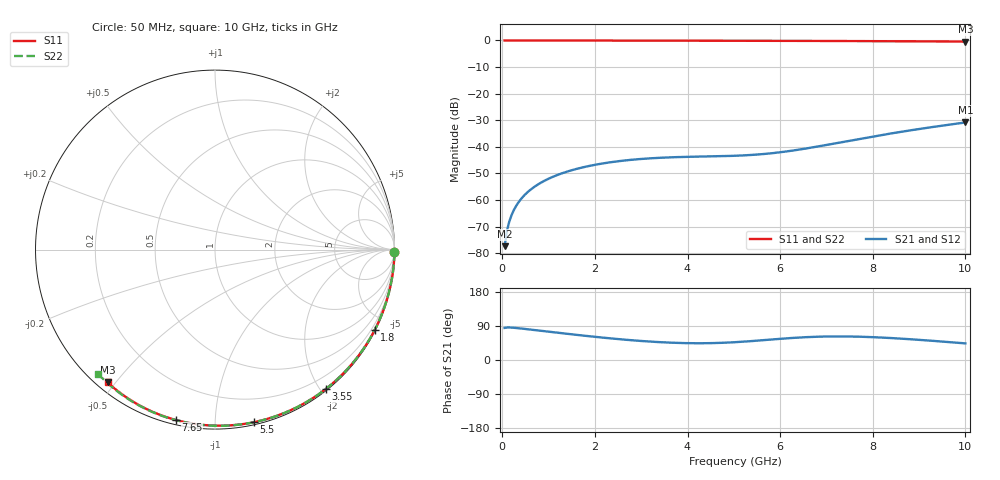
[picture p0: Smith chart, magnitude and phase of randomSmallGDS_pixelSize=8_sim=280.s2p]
! freq	dB(S11)	phase(S11)	dB(S12)	phase(S12)
!  dB(S21)	phase(S21)	dB(S22)	phase(S22)
!S-par simulation data
#  GHz  S  DB  R 50
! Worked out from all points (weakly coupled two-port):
!   200 points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, 50 MHz to 10 GHz, reference 50 ohm
!   highest |S21| = -30.85 dB at 10 GHz (marker M1); lowest = -77.4 dB at 50 MHz (marker M2)
!   lowest |S11| = -0.4 dB at 10 GHz (marker M3), VSWR 40.60, Z = 1.51 - j23.9 ohm
!   |S11| at or under -10 dB: nowhere
!   |S22| runs from -0.4 to 0.0 dB; largest |S21 - S12| = 0
!   S11 on the Smith chart (normalised r, x): 50 MHz: open; 1.8 GHz: 0.04, -4.21; 3.55 GHz: 0.02, -2.07; 5.5 GHz: 0.02, -1.25; 7.65 GHz: 0.02, -0.80; 10 GHz: 0.03, -0.48
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0.05  -0.00 -0.8  -77.36 84.6  -77.36 84.6  -0.00 -0.8
0.1  -0.00 -1.5  -71.61 85.7  -71.61 85.7  -0.00 -1.6
0.15  -0.00 -2.3  -68.16 85.8  -68.16 85.8  -0.00 -2.4
0.2  -0.00 -3.0  -65.68 85.5  -65.68 85.5  -0.00 -3.1
0.25  -0.00 -3.8  -63.76 85.0  -63.76 85.0  -0.00 -3.9
0.35  -0.00 -5.3  -60.87 83.9  -60.87 83.9  -0.00 -5.5
0.5  -0.01 -7.5  -57.81 81.9  -57.81 81.9  -0.01 -7.8
0.7  -0.01 -10.5  -54.95 79.0  -54.95 79.0  -0.01 -10.9
1  -0.02 -15.0  -51.99 74.8  -51.99 74.8  -0.02 -15.5
1.35  -0.03 -20.2  -49.60 69.8  -49.60 69.8  -0.03 -20.9
1.75  -0.03 -26.0  -47.68 64.4  -47.68 64.4  -0.03 -26.9
1.8  -0.03 -26.7  -47.48 63.7  -47.48 63.7  -0.04 -27.7
2.5  -0.05 -36.8  -45.42 55.2  -45.42 55.2  -0.05 -38.1
3.4  -0.07 -49.5  -44.13 47.1  -44.13 47.1  -0.07 -51.2
3.55  -0.07 -51.5  -44.01 46.2  -44.01 46.2  -0.07 -53.3
4.3  -0.09 -61.7  -43.66 44.2  -43.66 44.2  -0.09 -63.8
5.05  -0.11 -71.5  -43.35 47.2  -43.35 47.2  -0.11 -73.9
5.5  -0.12 -77.2  -42.91 51.0  -42.91 51.0  -0.13 -79.7
6.7  -0.18 -91.9  -40.22 61.0  -40.22 61.0  -0.18 -94.9
7.65  -0.23 -103.0  -37.23 61.7  -37.23 61.7  -0.24 -106.3
8.35  -0.28 -110.9  -35.10 58.2  -35.10 58.2  -0.29 -114.4
10  -0.43 -128.9  -30.85 43.8  -30.85 43.8  -0.44 -133.1
